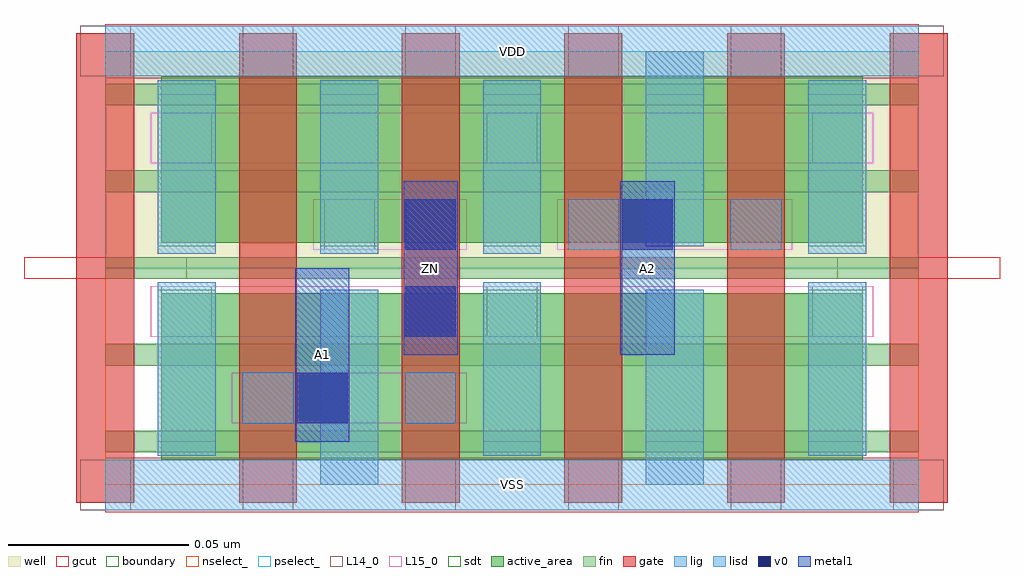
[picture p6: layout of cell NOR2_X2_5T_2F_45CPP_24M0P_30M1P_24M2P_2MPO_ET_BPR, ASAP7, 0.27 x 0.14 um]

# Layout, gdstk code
import gdstk
lib = gdstk.Library(unit=1e-6, precision=2.5e-10)
def R(c, l, rs):  # rectangles x0, y0, x1, y1
    for r in rs: c.add(gdstk.rectangle(r[:2], r[2:], *l))
def A(c, l, x, y, w, h, nx, ny, dx, dy):  # array of equal rectangles
    R(c, l, [(x+i*dx, y+j*dy, x+i*dx+w, y+j*dy+h) for i in range(nx) for j in range(ny)])
well = (1, 0)
fin = (2, 0)
gate = (7, 0)
gcut = (10, 0)
active_area = (11, 0)
nselect_ = (12, 0)
pselect_ = (13, 0)
L14_0 = (14, 0)
L15_0 = (15, 0)
lig = (16, 0)
lisd = (17, 0)
v0 = (18, 0)
metal1 = (19, 0)
sdt = (88, 0)
boundary = (100, 0)

nor2_x2_5t_2f_45cpp_24m0 = lib.new_cell('NOR2_X2_5T_2F_45CPP_24M0P_30M1P_24M2P_2MPO_ET_BPR')
R(nor2_x2_5t_2f_45cpp_24m0, well, [(0,0.06,0.225,0.12)])
A(nor2_x2_5t_2f_45cpp_24m0, fin, 0, 0.009, 0.225, 0.006, 1, 5, 0, 0.024)
A(nor2_x2_5t_2f_45cpp_24m0, gate, -0.008, -0.005, 0.016, 0.13, 6, 1, 0.045, 0)
R(nor2_x2_5t_2f_45cpp_24m0, gcut, [(0,-0.0075,0.225,0.0075), (-0.0225,0.057,0.0225,0.063), (0.2025,0.057,0.2475,0.063), (0,0.1125,0.225,0.1275)])
R(nor2_x2_5t_2f_45cpp_24m0, active_area, [(0.0155,0.007,0.1195,0.053), (0.1055,0.007,0.2095,0.053), (0.0155,0.067,0.1195,0.113), (0.1055,0.067,0.2095,0.113)])
R(nor2_x2_5t_2f_45cpp_24m0, nselect_, [(0,0,0.225,0.06)])
R(nor2_x2_5t_2f_45cpp_24m0, pselect_, [(0,0.06,0.225,0.12)])
A(nor2_x2_5t_2f_45cpp_24m0, L14_0, -0.007, -0.007, 0.014, 0.014, 6, 2, 0.045, 0.12)
A(nor2_x2_5t_2f_45cpp_24m0, L14_0, 0.0155, 0.041, 0.014, 0.014, 3, 2, 0.09, 0.048)
R(nor2_x2_5t_2f_45cpp_24m0, L14_0, [(0.038,0.017,0.052,0.031), (0.083,0.017,0.097,0.031), (0.0605,0.065,0.0745,0.079), (0.128,0.065,0.142,0.079), (0.173,0.065,0.187,0.079)])
R(nor2_x2_5t_2f_45cpp_24m0, L15_0, [(0,-0.007,0.225,0.007), (0.035,0.017,0.1,0.031), (0.0125,0.041,0.2125,0.055), (0.0575,0.065,0.1,0.079), (0.125,0.065,0.19,0.079), (0.0125,0.089,0.2125,0.103), (0,0.113,0.225,0.127)])
R(nor2_x2_5t_2f_45cpp_24m0, lig, [(0,-0.007,0.225,0.007), (0.038,0.017,0.052,0.031), (0.083,0.017,0.097,0.031), (0.128,0.065,0.142,0.079), (0.173,0.065,0.187,0.079), (0,0.113,0.225,0.127)])
A(nor2_x2_5t_2f_45cpp_24m0, lisd, 0.0145, 0.008, 0.016, 0.048, 3, 1, 0.09, 0)
A(nor2_x2_5t_2f_45cpp_24m0, lisd, 0.0145, 0.064, 0.016, 0.048, 3, 1, 0.045, 0)
R(nor2_x2_5t_2f_45cpp_24m0, lisd, [(0.0595,0,0.0755,0.054), (0.1495,0,0.1655,0.054), (0.1945,0.064,0.2105,0.112), (0.1495,0.066,0.1655,0.12)])
R(nor2_x2_5t_2f_45cpp_24m0, v0, [(0.053,0.017,0.067,0.031), (0.083,0.041,0.097,0.055), (0.083,0.065,0.097,0.079), (0.143,0.065,0.157,0.079)])
R(nor2_x2_5t_2f_45cpp_24m0, metal1, [(0.0525,0.012,0.0675,0.06), (0.0825,0.036,0.0975,0.084), (0.1425,0.036,0.1575,0.084)])
A(nor2_x2_5t_2f_45cpp_24m0, sdt, 0.0145, 0.012, 0.016, 0.042, 5, 2, 0.045, 0.054)
R(nor2_x2_5t_2f_45cpp_24m0, boundary, [(0,0,0.225,0.12)])
nor2_x2_5t_2f_45cpp_24m0.add(gdstk.Label('A2', (0.15,0.06), layer=19, texttype=251))
nor2_x2_5t_2f_45cpp_24m0.add(gdstk.Label('A1', (0.06,0.036), layer=19, texttype=251))
nor2_x2_5t_2f_45cpp_24m0.add(gdstk.Label('ZN', (0.09,0.06), layer=19, texttype=251))
nor2_x2_5t_2f_45cpp_24m0.add(gdstk.Label('VDD', (0.1125,0.12), layer=15, texttype=251))
nor2_x2_5t_2f_45cpp_24m0.add(gdstk.Label('VSS', (0.1125,0), layer=15, texttype=251))
nor2_x2_5t_2f_45cpp_24m0.add(gdstk.Label('VDD', (0.1125,0.12), layer=1, texttype=251))
nor2_x2_5t_2f_45cpp_24m0.add(gdstk.Label('VSS', (0.1125,0), layer=3, texttype=251))

lib.write_gds('NOR2_X2_5T_2F_45CPP_24M0P_30M1P_24M2P_2MPO_ET_BPR.gds')
